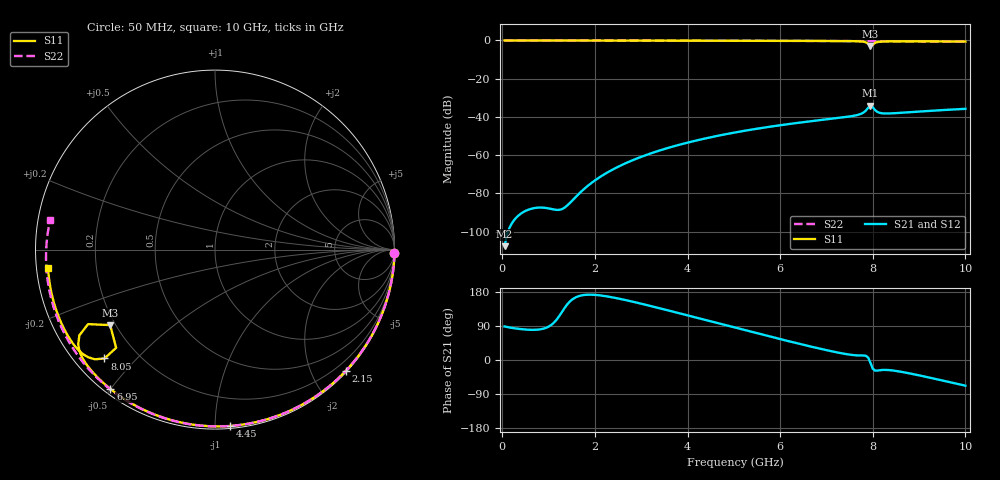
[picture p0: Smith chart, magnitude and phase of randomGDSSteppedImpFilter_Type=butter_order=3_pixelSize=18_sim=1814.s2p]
! freq	dB(S11)	phase(S11)	dB(S12)	phase(S12)
!  dB(S21)	phase(S21)	dB(S22)	phase(S22)
!S-par simulation data
#  GHz  S  DB  R 50
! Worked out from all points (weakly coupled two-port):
!   200 points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, 50 MHz to 10 GHz, reference 50 ohm
!   highest |S21| = -34.10 dB at 7.95 GHz (marker M1); lowest = -107.6 dB at 50 MHz (marker M2)
!   lowest |S11| = -2.9 dB at 7.95 GHz (marker M3), VSWR 6.14, Z = 8.97 - j15.7 ohm
!   |S11| at or under -10 dB: nowhere
!   |S22| runs from -0.6 to 0.0 dB; largest |S21 - S12| = 0
!   S11 on the Smith chart (normalised r, x): 50 MHz: open; 2.15 GHz: 0.02, -2.54; 4.45 GHz: 0.02, -1.09; 6.95 GHz: 0.02, -0.50; 8.05 GHz: 0.08, -0.41; 10 GHz: 0.03, -0.05
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0.05  -0.00 -1.0  -107.63 88.5  -107.63 88.5  -0.00 -1.1
0.8  -0.02 -16.3  -87.44 80.6  -87.44 80.6  -0.02 -17.5
1.65  -0.04 -33.2  -80.32 168.5  -80.32 168.5  -0.05 -35.7
1.75  -0.04 -35.2  -78.05 171.3  -78.05 171.3  -0.05 -37.8
2.15  -0.05 -42.9  -70.81 169.9  -70.81 169.9  -0.06 -46.2
2.7  -0.07 -53.4  -63.84 157.1  -63.84 157.1  -0.07 -57.4
3.4  -0.09 -66.4  -57.55 136.5  -57.55 136.5  -0.09 -71.3
4.45  -0.12 -85.1  -50.92 103.5  -50.92 103.5  -0.13 -91.2
5.05  -0.15 -95.4  -48.04 84.6  -48.04 84.6  -0.16 -102.2
5.85  -0.18 -108.8  -44.88 59.7  -44.88 59.7  -0.20 -116.4
6.7  -0.24 -122.8  -42.15 34.4  -42.15 34.4  -0.25 -131.1
6.95  -0.26 -126.9  -41.42 27.3  -41.42 27.3  -0.27 -135.4
7.55  -0.35 -137.9  -39.58 13.3  -39.58 13.3  -0.32 -145.8
7.8  -0.66 -145.3  -37.71 11.9  -37.71 11.9  -0.35 -150.1
7.9  -1.72 -149.6  -35.25 6.5  -35.25 6.5  -0.36 -151.8
7.95  -2.86 -144.2  -34.10 -7.5  -34.10 -7.5  -0.36 -152.7
8  -2.20 -135.2  -34.95 -22.9  -34.95 -22.9  -0.36 -153.6
8.05  -1.27 -135.4  -36.46 -28.0  -36.46 -28.0  -0.37 -154.4
8.15  -0.67 -139.6  -37.88 -27.0  -37.88 -27.0  -0.38 -156.2
8.35  -0.47 -145.1  -38.19 -26.6  -38.19 -26.6  -0.40 -159.7
9.1  -0.47 -158.7  -37.05 -43.2  -37.05 -43.2  -0.49 -173.1
10  -0.58 -173.8  -35.77 -67.8  -35.77 -67.8  -0.60 170.0
